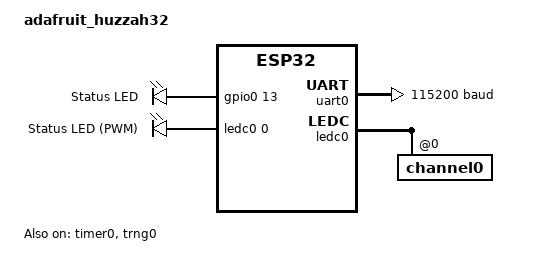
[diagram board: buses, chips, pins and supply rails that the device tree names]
/*
 * Copyright (c) 2022 Chris Wilson <christopher.david.wilson@gmail.com>
 *
 * SPDX-License-Identifier: Apache-2.0
 */
/dts-v1/;

#include <espressif/esp32.dtsi>
#include "adafruit_huzzah32-pinctrl.dtsi"

/ {
	model = "adafruit_huzzah32";
	compatible = "adafruit,huzzah32";

	aliases {
		led0 = &status_led;
        pwm-led0 = &pwm_status_led;
		uart-0 = &uart0;
		watchdog0 = &wdt0;
	};

	chosen {
		zephyr,sram = &sram0;
		zephyr,console = &uart0;
		zephyr,shell-uart = &uart0;
		zephyr,flash = &flash0;
	};

	leds {
		compatible = "gpio-leds";
		status_led: led_0 {
			gpios =  <&gpio0 13 GPIO_ACTIVE_HIGH>;
			label = "Status LED";
		};
	};

	pwmleds {
		compatible = "pwm-leds";
		pwm_status_led: pwm_led_0 {
			label = "Status LED (PWM)";
			pwms = <&ledc0 0 PWM_HZ(100) PWM_POLARITY_NORMAL>;
		};
	};

	power-states {
		light_sleep: light_sleep {
			compatible = "zephyr,power-state";
			power-state-name = "standby";
			min-residency-us = <200>;
			exit-latency-us = <60>;
		};

		deep_sleep: deep_sleep {
			compatible = "zephyr,power-state";
			power-state-name = "soft-off";
			min-residency-us = <2000>;
			exit-latency-us = <212>;
		};
	};

};

&cpu0 {
	clock-frequency = <ESP32_CLK_CPU_240M>;
	cpu-power-states = <&light_sleep &deep_sleep>;
};

&cpu1 {
	clock-frequency = <ESP32_CLK_CPU_240M>;
};

&uart0 {
	status = "okay";
	current-speed = <115200>;
	pinctrl-0 = <&uart0_default>;
	pinctrl-names = "default";
};

&gpio0 {
	status = "okay";
};

&gpio1 {
	status = "okay";
};

&ledc0 {
	pinctrl-0 = <&ledc0_default>;
	pinctrl-names = "default";
	status = "okay";
	#address-cells = <1>;
	#size-cells = <0>;
	channel0@0 {
		reg = <0x0>;
		timer = <0>;
	};
};

&timer0 {
	status = "okay";
};

&trng0 {
	status = "okay";
};

&flash0 {
	status = "okay";
	partitions {
		compatible = "fixed-partitions";
		#address-cells = <1>;
		#size-cells = <1>;

		/* Reserve 60kB for the bootloader */
		boot_partition: partition@1000 {
			label = "mcuboot";
			reg = <0x00001000 0x0000F000>;
			read-only;
		};

		/* Reserve 1024kB for the application in slot 0 */
		slot0_partition: partition@10000 {
			label = "image-0";
			reg = <0x00010000 0x00100000>;
		};

		/* Reserve 1024kB for the application in slot 1 */
		slot1_partition: partition@110000 {
			label = "image-1";
			reg = <0x00110000 0x00100000>;
		};

		/* Reserve 256kB for the scratch partition */
		scratch_partition: partition@210000 {
			   label = "image-scratch";
			   reg = <0x00210000 0x00040000>;
		};

		storage_partition: partition@250000 {
			label = "storage";
			reg = <0x00250000 0x00006000>;
		};
	};
};
